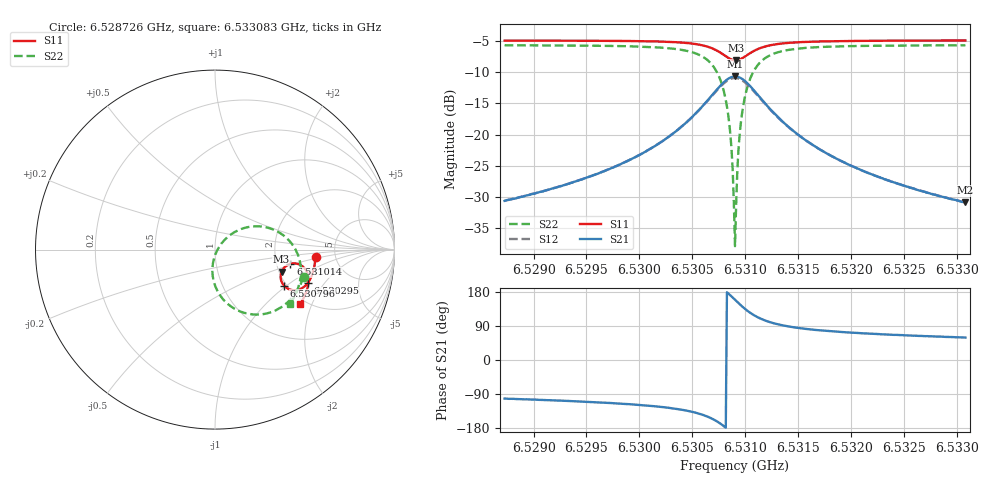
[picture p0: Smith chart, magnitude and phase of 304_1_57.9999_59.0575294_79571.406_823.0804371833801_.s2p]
#  HZ  S  RI  R  50.00
! Rohde & Schwarz Vector Network Analyzer
! Rohde-Schwarz,ZNB20-2Port,1311601062101988,3.16
! Created: UTC 3/21/2024, 1:03:54 AM
! freq[Hz]  re:S11  im:S11  re:S21  im:S21  re:S12  im:S12  re:S22  im:S22
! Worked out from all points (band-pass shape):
!   401 points, 6.528726 GHz to 6.533083 GHz, reference 50 ohm
!   highest |S21| = -10.73 dB at 6.530905 GHz (marker M1); lowest = -30.8 dB at 6.533083 GHz (marker M2)
!   |S21| within 3 dB of the highest: 6.530688 GHz to 6.531123 GHz (435.5 kHz wide, 0.00667 % of centre)
!   lowest |S11| = -8.2 dB at 6.530915 GHz (marker M3), VSWR 2.28, Z = 103 - j30 ohm
!   |S11| at or under -10 dB: nowhere
!   |S22| runs from -37.8 to -5.7 dB; largest |S21 - S12| = 0.011
!   S11 on the Smith chart (normalised r, x): 6.528726 GHz: 3.50, -0.45; 6.530295 GHz: 2.59, -1.39; 6.530796 GHz: 1.94, -0.96; 6.531014 GHz: 2.39, -0.46; 6.533083 GHz: 1.84, -1.65
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6.5287259e9  0.5601 -0.0437  -0.006 -0.0289  -0.00658 -0.0289  0.494 -0.15
6.5294557e9  0.5511 -0.1038  -0.0148 -0.0411  -0.0157 -0.041  0.4651 -0.216
6.5301856e9  0.5245 -0.1748  -0.0464 -0.071  -0.0485 -0.0698  0.3882 -0.3079
6.5302946e9  0.5157 -0.1875  -0.0587 -0.0788  -0.061 -0.0771  0.3622 -0.3258
6.5306323e9  0.4536 -0.2259  -0.1542 -0.0962  -0.1565 -0.0902  0.1817 -0.3571
6.5307303e9  0.4142 -0.2214  -0.215 -0.0726  -0.2148 -0.064  0.0784 -0.3086
6.5307957e9  0.385 -0.2013  -0.2583 -0.028  -0.2542 -0.0186  0.0117 -0.2267
6.5308501e9  0.368 -0.1699  -0.28 0.0326  -0.2721 0.0403  -0.0146 -0.1224
6.5308719e9  0.3659 -0.1546  -0.2808 0.0611  -0.2718 0.0675  -0.0113 -0.0752
6.5308828e9  0.3658 -0.1464  -0.2793 0.0758  -0.2697 0.081  -0.00609 -0.0517
6.5308937e9  0.3669 -0.1385  -0.2761 0.0901  -0.2664 0.0947  0.0013 -0.0284
6.5309046e9  0.3687 -0.1306  -0.2714 0.1043  -0.2615 0.1079  0.0112 -0.00619
6.5309155e9  0.3713 -0.1229  -0.2654 0.1178  -0.2555 0.1206  0.0231 0.0151
6.5309264e9  0.3748 -0.1157  -0.2583 0.1308  -0.2484 0.1327  0.0371 0.0353
6.5309482e9  0.3839 -0.1025  -0.2403 0.1538  -0.231 0.1541  0.0702 0.0699
6.5309591e9  0.3893 -0.0969  -0.2302 0.1637  -0.2212 0.1633  0.0884 0.0844
6.5310135e9  0.4205 -0.0795  -0.1733 0.1947  -0.1667 0.1922  0.1875 0.1261
6.5310898e9  0.4611 -0.0799  -0.1017 0.1975  -0.0983 0.1947  0.3078 0.1179
6.5311987e9  0.4965 -0.1014  -0.0399 0.1688  -0.0383 0.1672  0.4083 0.0552
6.5316345e9  0.5212 -0.1799  0.0139 0.0819  0.015 0.0816  0.4789 -0.1285
6.5323643e9  0.5016 -0.2523  0.0166 0.0392  0.0173 0.0392  0.4512 -0.2433
6.5330833e9  0.474 -0.3052  0.0147 0.0247  0.0151 0.0244  0.4162 -0.3046
